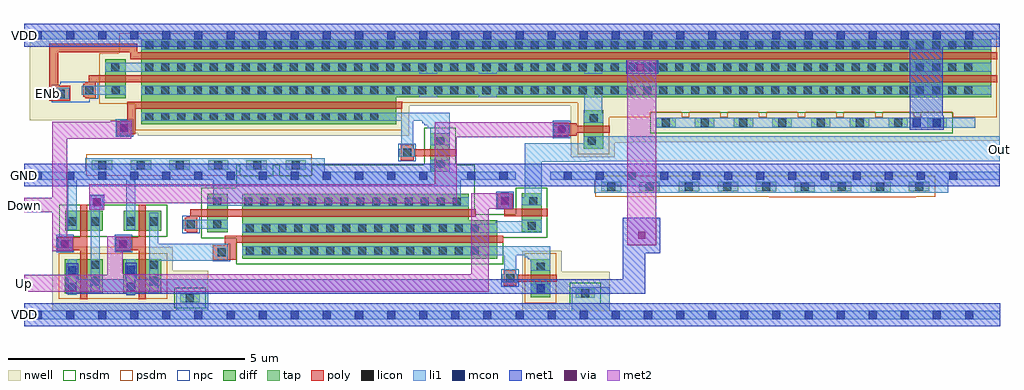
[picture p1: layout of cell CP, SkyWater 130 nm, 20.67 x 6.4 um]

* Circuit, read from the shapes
.subckt CP Down ENb GND Out Up VDD
XM1 n1 Down GND GND sky130_fd_pr__nfet_01v8 w=0.42 l=0.15
XM2 n2 Up GND GND sky130_fd_pr__nfet_01v8 w=0.42 l=0.15
XM3 GND n3 n3 GND sky130_fd_pr__nfet_01v8 w=0.44 l=0.15
XM4 n4 n2 n5 GND sky130_fd_pr__nfet_01v8 w=5.4 l=0.15
XM5 GND n3 n4 GND sky130_fd_pr__nfet_01v8 w=4.8 l=0.15
XM6 n6 n6 GND GND sky130_fd_pr__nfet_01v8 w=0.42 l=0.15
XM7 Out Up n4 GND sky130_fd_pr__nfet_01v8 w=0.42 l=0.15
XM8 n1 Down n7 VDD sky130_fd_pr__pfet_01v8 w=0.72 l=0.15
XM9 n7 n8 n8 VDD sky130_fd_pr__pfet_01v8 w=0.44 l=0.15
XM10 n2 Up n7 VDD sky130_fd_pr__pfet_01v8 w=0.72 l=0.15
XM11 n9 Down n6 VDD sky130_fd_pr__pfet_01v8 w=5.4 l=0.15
XM12 n7 n8 n9 VDD sky130_fd_pr__pfet_01v8 w=18 l=0.15
XM13 VDD ENb n7 VDD sky130_fd_pr__pfet_01v8 w=18 l=0.15
XM14 n5 n5 n7 VDD sky130_fd_pr__pfet_01v8 w=0.42 l=0.15
XM15 n9 n1 Out VDD sky130_fd_pr__pfet_01v8 w=0.42 l=0.15
.ends

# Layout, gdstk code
import gdstk
lib = gdstk.Library(unit=1e-6, precision=1e-09)
def R(c, l, rs):  # rectangles x0, y0, x1, y1
    for r in rs: c.add(gdstk.rectangle(r[:2], r[2:], *l))
def A(c, l, x, y, w, h, nx, ny, dx, dy):  # array of equal rectangles
    R(c, l, [(x+i*dx, y+j*dy, x+i*dx+w, y+j*dy+h) for i in range(nx) for j in range(ny)])
nwell = (64, 20)
diff = (65, 20)
tap = (65, 44)
poly = (66, 20)
licon = (66, 44)
li1 = (67, 20)
mcon = (67, 44)
met1 = (68, 20)
via = (68, 44)
met2 = (69, 20)
nsdm = (93, 44)
psdm = (94, 20)
npc = (95, 20)

c_cp = lib.new_cell('CP')
R(c_cp, nwell, [(10.55,0.31,12.41,1.15), (0.6,0.32,3.9,1.17), (10.55,1.15,11.39,1.6), (0.6,1.17,3.15,1.68), (11.58,3.58,12.51,3.88), (11.58,3.88,12.88,3.89), (11.58,3.89,19.42,3.93), (11.58,3.93,20.66,4.67), (2.41,4.03,8.16,4.08), (2.3,4.08,8.16,4.23), (1.96,4.23,8.16,4.36), (0.12,4.36,8.16,4.67), (0.12,4.67,20.66,6.26)])
R(c_cp, diff, [(10.73,0.61,11.15,1.42), (0.86,0.7,1.67,1.42), (2.1,0.7,2.91,1.42), (4.62,1.43,10.02,2.24), (3.88,1.99,4.32,2.8), (10.54,2,10.96,2.81), (0.87,2.02,1.67,2.44), (2.11,2.02,2.91,2.44), (4.62,2.24,9.42,2.8), (8.6,3.27,9.02,4.08), (11.85,3.76,12.27,4.57), (2.48,4.27,7.88,4.85), (1.72,4.83,2.16,5.65), (2.48,4.85,20.48,6.08)])
A(c_cp, tap, 1.44, 3.31, 0.43, 0.2, 4, 1, 0.82, 0)
A(c_cp, tap, 13.39, 4.21, 0.41, 0.19, 8, 1, 0.82, 0)
R(c_cp, tap, [(3.31,0.5,3.72,0.69), (11.68,0.6,12.09,0.79), (16.32,2.85,16.75,3.05), (17.93,2.85,18.36,3.05), (12.22,2.86,12.65,3.06), (13.03,2.86,13.46,3.06), (13.87,2.86,14.3,3.06), (14.7,2.86,15.13,2.87), (15.5,2.86,15.93,3.06), (17.09,2.86,17.52,3.06), (18.74,2.86,19.17,3.06), (14.69,2.87,15.13,3.04), (14.7,3.04,15.13,3.06), (4.71,3.31,5.14,3.51), (5.54,3.31,5.97,3.51)])
R(c_cp, poly, [(1.19,0.57,1.34,1.61), (2.43,0.57,2.58,1.61), (10.16,0.85,10.43,0.94), (10.16,0.94,11.28,1.09), (10.16,1.09,10.43,1.18), (4,1.41,4.49,1.71), (0.7,1.61,1.34,1.88), (1.94,1.61,2.58,1.88), (4.25,1.71,4.49,1.76), (4.25,1.76,10.15,1.91), (1.19,1.88,1.34,2.57), (2.43,1.88,2.58,2.57), (3.45,1.99,3.67,2.02), (3.4,2.02,3.67,2.29), (3.45,2.29,3.67,2.32), (3.52,2.32,9.57,2.47), (10.17,2.33,11.09,2.48), (10.17,2.48,10.35,2.52), (10.02,2.52,10.35,2.8), (7.98,3.51,8.25,3.6), (7.98,3.6,9.15,3.75), (7.98,3.75,8.25,3.84), (11.22,4.03,11.71,4.09), (1.96,4.06,2.36,4.33), (11.22,4.09,12.4,4.24), (11.22,4.24,11.71,4.3), (2.19,4.33,2.36,4.6), (2.19,4.6,8.01,4.75), (0.54,4.77,0.98,5.09), (1.3,4.83,1.52,4.86), (1.25,4.86,1.52,5.13), (0.54,5.09,0.73,5.8), (1.3,5.13,1.52,5.16), (1.37,5.16,20.61,5.31), (2.25,5.65,20.61,5.8), (0.54,5.8,2.4,5.98)])
A(c_cp, licon, 4.7, 1.51, 0.17, 0.17, 15, 2, 0.34, 0.48)
A(c_cp, licon, 4.66, 2.55, 0.17, 0.17, 14, 1, 0.34, 0)
A(c_cp, licon, 12.35, 2.87, 0.17, 0.17, 6, 1, 0.82, 0)
A(c_cp, licon, 17.23, 2.87, 0.17, 0.17, 3, 1, 0.82, 0)
A(c_cp, licon, 1.57, 3.32, 0.17, 0.17, 6, 1, 0.82, 0)
A(c_cp, licon, 13.51, 4.22, 0.17, 0.17, 8, 1, 0.82, 0)
A(c_cp, licon, 2.57, 4.35, 0.17, 0.17, 15, 1, 0.34, 0)
A(c_cp, licon, 2.57, 4.91, 0.17, 0.17, 52, 2, 0.34, 0.49)
A(c_cp, licon, 2.57, 5.86, 0.17, 0.17, 52, 1, 0.34, 0)
R(c_cp, licon, [(3.43,0.5,3.6,0.67), (11.8,0.61,11.97,0.78), (10.86,0.69,11.03,0.86), (0.94,0.74,1.11,0.91), (2.18,0.74,2.35,0.91), (1.42,0.87,1.59,1.04), (2.66,0.87,2.83,1.04), (10.21,0.93,10.38,1.1), (0.94,1.1,1.11,1.27), (2.18,1.11,2.35,1.28), (10.86,1.17,11.03,1.34), (1.42,1.21,1.59,1.38), (2.66,1.21,2.83,1.38), (4.1,1.475,4.27,1.645), (0.78,1.66,0.95,1.83), (2.02,1.66,2.19,1.83), (10.67,2.04,10.84,2.21), (3.45,2.07,3.62,2.24), (4.01,2.07,4.18,2.24), (0.94,2.13,1.11,2.3), (1.42,2.13,1.59,2.3), (2.18,2.13,2.35,2.3), (2.66,2.13,2.83,2.3), (4.01,2.55,4.18,2.72), (10.7,2.56,10.87,2.73), (10.1,2.57,10.27,2.74), (8.73,3.35,8.9,3.52), (8.03,3.59,8.2,3.76), (8.73,3.83,8.9,4), (11.94,3.84,12.11,4.01), (11.3,4.08,11.47,4.25), (2.04,4.11,2.21,4.28), (11.98,4.32,12.15,4.49), (0.69,4.84,0.86,5.01), (1.3,4.91,1.47,5.08), (1.86,4.91,2.03,5.08), (1.85,5.4,2.02,5.57)])
R(c_cp, li1, [(0,0.15,20.67,0.32), (3.22,0.32,3.9,0.73), (11.6,0.32,12.41,0.82), (0.93,0.66,1.12,1.42), (2.17,0.66,2.36,1.42), (10.73,0.69,11.15,0.9), (1.41,0.7,1.6,2.5), (2.65,0.7,2.84,1.38), (10.13,0.93,10.46,1.1), (10.17,1.1,10.42,1.5), (10.73,1.17,11.15,1.37), (10.72,1.37,11.15,1.42), (2.65,1.38,4.31,1.74), (10.67,1.42,11.15,1.46), (10.6,1.46,11.15,1.5), (4.62,1.5,11.15,1.69), (0.7,1.66,1.03,1.83), (1.94,1.66,2.27,1.83), (2.65,1.74,2.84,2.4), (4.62,1.98,10.96,2.17), (0.93,2.04,1.12,3.1), (2.17,2.04,2.36,3.1), (3.37,2.06,4.32,2.25), (9.99,2.17,10.96,2.22), (10.54,2.22,10.96,2.25), (10.1,2.49,10.27,2.82), (1.41,2.5,1.67,2.76), (4.62,2.54,9.42,2.55), (3.88,2.55,9.42,2.72), (10.54,2.56,10.96,2.73), (4.01,2.72,9.42,2.73), (4.01,2.73,9.25,3.1), (10.61,2.73,10.96,3.48), (12.08,2.82,19.57,3.1), (0.01,3.1,10.41,3.27), (11.14,3.1,20.66,3.27), (1.3,3.27,6.37,3.55), (8.6,3.27,9.02,3.52), (10.61,3.48,11.96,3.49), (10.61,3.49,20.66,3.87), (7.95,3.59,8.28,3.76), (7.99,3.76,8.24,4.35), (8.6,3.83,9.02,4.19), (11.85,3.87,20.66,4.02), (2.04,4.03,2.21,4.36), (11.22,4.08,11.55,4.25), (8.55,4.19,9.02,4.25), (13.38,4.2,20.15,4.41), (8.48,4.25,9.02,4.3), (8.43,4.3,9.02,4.35), (11.85,4.31,12.27,4.5), (2.48,4.35,9.02,4.52), (11.87,4.5,12.25,4.9), (0.51,4.81,0.96,5.05), (8.37,4.85,8.75,4.9), (9.63,4.85,10.01,4.9), (1.22,4.9,2.16,5.09), (2.48,4.9,20.48,5.09), (8.37,5.34,8.75,5.39), (9.63,5.34,10.01,5.39), (11.87,5.34,12.25,5.39), (1.72,5.39,20.48,5.58), (2.48,5.85,20.48,6.07), (0,6.07,20.66,6.24)])
A(c_cp, mcon, 0.21, 0.15, 0.17, 0.17, 30, 2, 0.68, 5.92)
A(c_cp, mcon, 0.21, 3.1, 0.17, 0.17, 13, 1, 0.68, 0)
A(c_cp, mcon, 11.43, 3.1, 0.17, 0.17, 13, 1, 0.68, 0)
R(c_cp, mcon, [(10.86,0.72,11.03,0.89), (0.94,0.74,1.11,0.91), (2.18,0.745,2.35,0.915), (0.94,1.1,1.11,1.27), (2.18,1.11,2.35,1.28), (0.78,1.66,0.95,1.83), (2.02,1.66,2.19,1.83), (1.46,2.54,1.63,2.71), (10.1,2.57,10.27,2.74), (9.39,3.1,9.56,3.27), (10.07,3.1,10.24,3.27), (11.3,4.08,11.47,4.25), (2.04,4.11,2.21,4.28), (18.82,4.22,18.99,4.39), (19.25,4.22,19.42,4.39), (12.81,5.4,12.98,5.57), (13.23,5.4,13.4,5.57)])
R(c_cp, met1, [(0,0,20.67,0.48), (2.18,0.65,2.35,0.69), (0.9,0.68,1.13,0.69), (0.9,0.69,13.16,0.99), (0.9,0.99,1.15,1.33), (2.14,0.99,2.39,1.34), (12.68,0.99,13.16,1.54), (12.68,1.54,13.47,2.29), (0.71,1.58,1.03,1.9), (1.94,1.58,2.26,1.9), (1.38,2.46,1.7,2.78), (10.02,2.49,10.34,2.81), (0.01,2.96,20.66,3.44), (11.22,4.02,11.54,4.32), (1.96,4.03,2.28,4.35), (18.76,4.16,19.48,4.46), (18.76,4.46,19.46,5.92), (12.75,5.34,13.43,5.63), (0,5.92,20.66,6.4)])
R(c_cp, via, [(0.795,1.665,0.945,1.815), (2.025,1.665,2.175,1.815), (13.005,1.845,13.155,1.995), (1.465,2.545,1.615,2.695), (10.105,2.575,10.255,2.725), (11.305,4.085,11.455,4.235), (2.045,4.115,2.195,4.265), (12.985,5.395,13.135,5.545)])
R(c_cp, met2, [(0.01,0.73,9.84,1.09), (1.76,1.09,9.84,1.1), (1.76,1.1,2.09,1.61), (9.47,1.1,9.84,2.49), (0.6,1.58,1.03,1.9), (1.76,1.61,2.26,1.9), (12.78,1.71,13.39,5.63), (0.6,1.9,0.92,2.41), (0.01,2.41,0.92,2.72), (1.38,2.46,1.7,2.6), (9.47,2.49,10.34,2.81), (1.38,2.6,9.17,3), (0.6,2.72,0.92,3.97), (8.7,3,9.17,4), (0.6,3.97,2.27,4.03), (8.7,4,11.54,4.32), (0.6,4.03,2.28,4.33), (1.84,4.33,2.28,4.35)])
R(c_cp, nsdm, [(3.185,0.375,3.845,0.815), (11.555,0.475,12.215,0.915), (4.495,1.305,10.145,1.865), (3.755,1.865,10.145,1.875), (3.755,1.875,11.085,2.365), (0.745,1.895,3.035,2.565), (3.755,2.365,9.545,2.925), (10.415,2.365,11.085,2.935), (4.495,2.925,9.545,3.185), (4.495,3.185,4.585,3.415), (5.265,3.185,5.415,3.415), (6.095,3.185,9.545,3.415), (8.475,3.415,9.145,4.205), (13.265,4.085,19.665,4.525)])
A(c_cp, psdm, 13.925, 4.425, 0.16, 0.1, 7, 1, 0.82, 0)
R(c_cp, psdm, [(10.605,0.485,11.275,1.545), (0.735,0.575,3.035,1.545), (15.785,2.725,18.885,2.735), (12.095,2.735,19.295,3.185), (1.315,3.185,6.095,3.635), (11.725,3.635,12.395,4.425), (2.355,4.145,8.005,4.705), (11.725,4.425,13.265,4.525), (19.665,4.425,20.605,4.525), (11.725,4.525,20.605,4.725), (1.595,4.705,8.005,4.725), (1.595,4.725,20.605,5.775), (2.015,5.775,20.605,6.205)])
R(c_cp, npc, [(10.11,0.83,10.48,1.2), (4,1.375,4.37,1.745), (0.68,1.56,1.05,1.93), (1.92,1.56,2.29,1.93), (3.35,1.97,3.72,2.34), (10,2.47,10.37,2.84), (7.93,3.49,8.3,3.86), (11.2,3.98,11.57,4.35), (1.94,4.01,2.31,4.38), (0.59,4.74,1.395,4.81), (0.59,4.81,1.57,5.11), (0.765,5.11,1.57,5.18)])
c_cp.add(gdstk.Label('VDD', (0,0.24), layer=68, texttype=5))
c_cp.add(gdstk.Label('VDD', (0,6.16), layer=68, texttype=5))
c_cp.add(gdstk.Label('GND', (0.01,3.2), layer=68, texttype=5))
c_cp.add(gdstk.Label('Up', (0.01,0.91), layer=69, texttype=5))
c_cp.add(gdstk.Label('Down', (0.01,2.56), layer=69, texttype=5))
c_cp.add(gdstk.Label('Out', (20.66,3.75), layer=67, texttype=5))
c_cp.add(gdstk.Label('ENb', (0.51,4.93), layer=67, texttype=5))

lib.write_gds('CP.gds')
